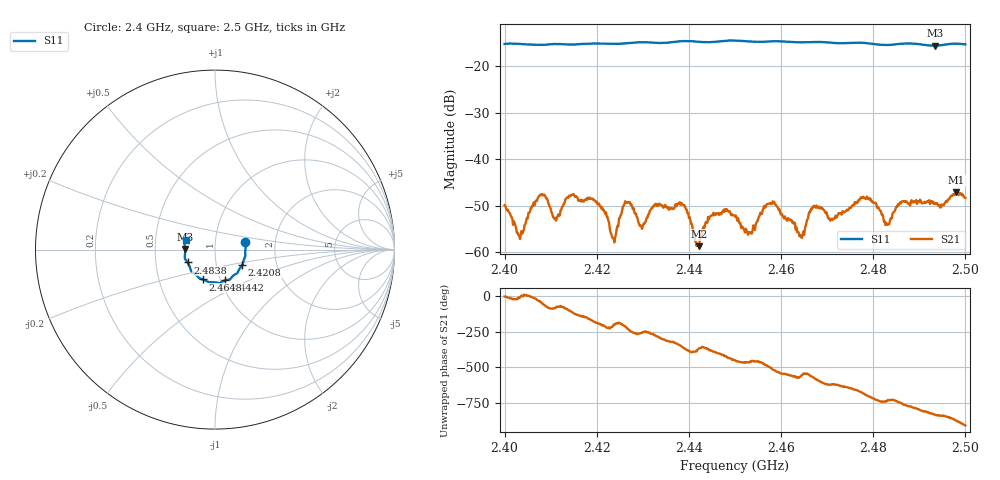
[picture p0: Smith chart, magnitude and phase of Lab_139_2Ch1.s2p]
# Hz S RI R 50
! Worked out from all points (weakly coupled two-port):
!   601 points, 2.4 GHz to 2.5 GHz, reference 50 ohm
!   highest |S21| = -47.08 dB at 2.498 GHz (marker M1); lowest = -58.7 dB at 2.4422 GHz (marker M2)
!   lowest |S11| = -15.6 dB at 2.4935 GHz (marker M3), VSWR 1.40, Z = 35.8 + j0.211 ohm
!   |S11| at or under -10 dB: start of sweep to end of sweep
!   S12 and S22 are empty: the file has one direction only
!   S11 on the Smith chart (normalised r, x): 2.4 GHz: 1.40, +0.12; 2.4208 GHz: 1.33, -0.24; 2.4442 GHz: 1.05, -0.37; 2.4648 GHz: 0.83, -0.28; 2.4838 GHz: 0.73, -0.11; 2.5 GHz: 0.72, +0.08
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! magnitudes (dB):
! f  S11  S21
! 2.4 GHz  -15.3  -49.8
! 2.4033 GHz  -15.3  -57.1
! 2.4077 GHz  -15.4  -47.7
! 2.4167 GHz  -15.3  -49.1
! 2.4208 GHz  -15.2  -50.1
! 2.4237 GHz  -15.2  -57.0
! 2.4263 GHz  -15.1  -49.3
! 2.4297 GHz  -14.9  -54.3
! 2.4333 GHz  -15.0  -50.0
! 2.4388 GHz  -14.6  -49.8
! 2.4422 GHz  -14.8  -58.7
! 2.4442 GHz  -14.9  -52.4
! 2.45 GHz  -14.5  -52.3
! 2.4532 GHz  -14.7  -55.6
! 2.4582 GHz  -14.7  -49.0
! 2.4648 GHz  -14.9  -55.5
! 2.4667 GHz  -14.8  -50.7
! 2.4833 GHz  -15.5  -54.0
! 2.4838 GHz  -15.4  -52.7
! 2.4935 GHz  -15.6  -49.5
! 2.498 GHz  -15.2  -47.1
! 2.5 GHz  -15.3  -48.3
